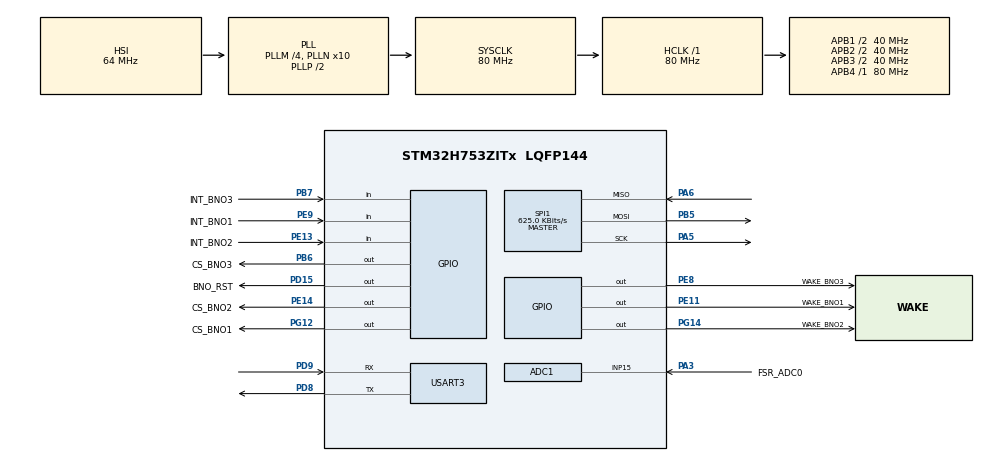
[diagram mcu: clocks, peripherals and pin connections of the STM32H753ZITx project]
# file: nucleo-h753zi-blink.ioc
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ADC1.Channel-0\#ChannelRegularConversion=ADC_CHANNEL_15
ADC1.ClockPrescaler=ADC_CLOCK_ASYNC_DIV4
ADC1.NbrOfConversionFlag=1
ADC1.OffsetNumber-0\#ChannelRegularConversion=ADC_OFFSET_NONE
ADC1.OffsetSignedSaturation-0\#ChannelRegularConversion=DISABLE
ADC1.Rank-0\#ChannelRegularConversion=1
ADC1.SamplingTime-0\#ChannelRegularConversion=ADC_SAMPLETIME_64CYCLES_5
ADC1.master=1
CORTEX_M7.CPU_DCache=Disabled
CORTEX_M7.CPU_ICache=Disabled
CORTEX_M7.MPU_Control=__NULL
CORTEX_M7.default_mode_Activation=1
Mcu.Family=STM32H7
Mcu.Name=STM32H753ZITx
Mcu.Package=LQFP144
NVIC.PriorityGroup=NVIC_PRIORITYGROUP_4
PA3.GPIO_Label=FSR_ADC0
PA3.Signal=ADCx_INP15
PA5.Mode=Full_Duplex_Master
PA5.Signal=SPI1_SCK
PA6.Mode=Full_Duplex_Master
PA6.Signal=SPI1_MISO
PB15.Signal=SPI2_MOSI
PB5.Mode=Full_Duplex_Master
PB5.Signal=SPI1_MOSI
PB6.GPIO_Label=CS_BNO3
PB6.GPIO_Speed=GPIO_SPEED_FREQ_VERY_HIGH
PB6.PinState=GPIO_PIN_SET
PB6.Signal=GPIO_Output
PB7.GPIO_Label=INT_BNO3
PB7.GPIO_PuPd=GPIO_PULLUP
PB7.Signal=GPIO_Input
PC14-OSC32_IN\ (OSC32_IN).Signal=RCC_OSC32_IN
PC15-OSC32_OUT\ (OSC32_OUT).Signal=RCC_OSC32_OUT
PD15.GPIO_Label=BNO_RST
PD15.GPIO_Speed=GPIO_SPEED_FREQ_VERY_HIGH
PD15.PinState=GPIO_PIN_SET
PD15.Signal=GPIO_Output
PD8.Mode=Asynchronous
PD8.Signal=USART3_TX
PD9.Mode=Asynchronous
PD9.Signal=USART3_RX
PE11.GPIO_Label=WAKE_BNO1
PE11.GPIO_Speed=GPIO_SPEED_FREQ_VERY_HIGH
PE11.PinState=GPIO_PIN_SET
PE11.Signal=GPIO_Output
PE13.GPIO_Label=INT_BNO2
PE13.GPIO_PuPd=GPIO_PULLUP
PE13.Signal=GPIO_Input
PE14.GPIO_Label=CS_BNO2
PE14.GPIO_Speed=GPIO_SPEED_FREQ_VERY_HIGH
PE14.PinState=GPIO_PIN_SET
PE14.Signal=GPIO_Output
PE8.GPIO_Label=WAKE_BNO3
PE8.GPIO_Speed=GPIO_SPEED_FREQ_VERY_HIGH
PE8.PinState=GPIO_PIN_SET
PE8.Signal=GPIO_Output
PE9.GPIO_Label=INT_BNO1
PE9.GPIO_PuPd=GPIO_PULLUP
PE9.Signal=GPIO_Input
PG12.GPIO_Label=CS_BNO1
PG12.GPIO_Speed=GPIO_SPEED_FREQ_VERY_HIGH
PG12.PinState=GPIO_PIN_SET
PG12.Signal=GPIO_Output
PG14.GPIO_Label=WAKE_BNO2
PG14.GPIO_Speed=GPIO_SPEED_FREQ_VERY_HIGH
PG14.PinState=GPIO_PIN_SET
PG14.Signal=GPIO_Output
PH0-OSC_IN\ (PH0).Mode=HSE-External-Clock-Source
PH0-OSC_IN\ (PH0).Signal=RCC_OSC_IN
PH1-OSC_OUT\ (PH1).Signal=RCC_OSC_OUT
ProjectManager.HeapSize=0x200
ProjectManager.StackSize=0x400
ProjectManager.TargetToolchain=STM32CubeIDE
RCC.ADCFreq_Value=75000000
RCC.APB1Freq_Value=40000000
RCC.APB2Freq_Value=40000000
RCC.APB3Freq_Value=40000000
RCC.APB4Freq_Value=80000000
RCC.CortexFreq_Value=80000000
RCC.D1PPRE=RCC_APB3_DIV2
RCC.D2PPRE1=RCC_APB1_DIV2
RCC.D2PPRE2=RCC_APB2_DIV2
RCC.DIVM1=4
RCC.DIVM2=4
RCC.DIVN1=10
RCC.DIVN2=9
RCC.HCLKFreq_Value=80000000
RCC.HSE_VALUE=8000000
RCC.PLL2FRACN=3072
RCC.PLL3FRACN=0
RCC.PLLFRACN=0
RCC.SYSCLKFreq_VALUE=80000000
RCC.SYSCLKSource=RCC_SYSCLKSOURCE_PLLCLK
RCC.USBFreq_Value=80000000
SH.ADCx_INP15.0=ADC1_INP15,IN15-Single-Ended
SPI1.BaudRatePrescaler=SPI_BAUDRATEPRESCALER_128
SPI1.CLKPhase=SPI_PHASE_2EDGE
SPI1.CLKPolarity=SPI_POLARITY_HIGH
SPI1.CalculateBaudRate=625.0 KBits/s
SPI1.DataSize=SPI_DATASIZE_8BIT
SPI1.Direction=SPI_DIRECTION_2LINES
SPI1.Mode=SPI_MODE_MASTER
SPI1.VirtualType=VM_MASTER
USART3.VirtualMode-Asynchronous=VM_ASYNC
VP_MEMORYMAP_VS_MEMORYMAP.Mode=CurAppReg
board=NUCLEO-H753ZI

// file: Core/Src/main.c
/* USER CODE BEGIN Header */
/**
  ******************************************************************************
  * @file           : main.c
  * @brief          : Main program body
  ******************************************************************************
  * @attention
  *
  * Copyright (c) 2026 STMicroelectronics.
  * All rights reserved.
  *
  * This software is licensed under terms that can be found in the LICENSE file
  * in the root directory of this software component.
  * If no LICENSE file comes with this software, it is provided AS-IS.
  *
  ******************************************************************************
  */
/* USER CODE END Header */
#include "main.h"
#include "adc.h"
#include "spi.h"
#include "usart.h"
#include "gpio.h"

/* USER CODE BEGIN Includes */
#include "bno085.h"
#include "fsr.h"
#include <stdio.h>
/* USER CODE END Includes */

/* USER CODE BEGIN PV */
BNO085_t bno1;
BNO085_t bno2;
BNO085_t bno3;
FSR_HandleTypeDef fsr1;
/* USER CODE END PV */

void SystemClock_Config(void);

/* USER CODE BEGIN 0 */
extern UART_HandleTypeDef huart3;
int _write(int file, char *ptr, int len) {
    /* printf → USART3 (TX=PD8) → USB-TTL → COM17 */
    HAL_UART_Transmit(&huart3, (uint8_t*)ptr, len, HAL_MAX_DELAY);
    return len;
}

/* Helper function to safely reset and drain multiple BNO085 sensors on shared RST pin */
void BNO085_MultiReset(BNO085_t *imus[], uint8_t count, uint32_t timeout_ms) {
    printf("[1/3] Pulsing shared hardware reset line (PD15)...\r\n");
    HAL_GPIO_WritePin(BNO_RST_GPIO_Port, BNO_RST_Pin, GPIO_PIN_RESET);
    HAL_Delay(15);
    HAL_GPIO_WritePin(BNO_RST_GPIO_Port, BNO_RST_Pin, GPIO_PIN_SET);

    for (uint8_t i = 0; i < count; i++) {
        printf("  -> Syncing & draining boot packets for IMU #%u...\r\n", i + 1);
        uint32_t start = HAL_GetTick();
        while (HAL_GPIO_ReadPin(imus[i]->hintn_port, imus[i]->hintn_pin) == GPIO_PIN_SET) {
            if ((HAL_GetTick() - start) > timeout_ms) {
                printf("  [WARN] IMU #%u did not respond (INT pin stayed HIGH). Is it wired?\r\n", i + 1);
                break;
            }
        }

        uint8_t boot_buf[300];
        uint32_t drain_start = HAL_GetTick();
        while ((HAL_GetTick() - drain_start) < 1500) {
            if (HAL_GPIO_ReadPin(imus[i]->hintn_port, imus[i]->hintn_pin) == GPIO_PIN_RESET) {
                BNO085_ReadPacket(imus[i], boot_buf, sizeof(boot_buf));
                drain_start = HAL_GetTick();
            } else if ((HAL_GetTick() - drain_start) > 100) {
                break;
            }
        }
    }
    HAL_Delay(50);
}
/* USER CODE END 0 */

int main(void)
{

  /* MCU Configuration--------------------------------------------------------*/

  /* Reset of all peripherals, Initializes the Flash interface and the Systick. */
  HAL_Init();

  /* Configure the system clock */
  SystemClock_Config();

  /* Initialize all configured peripherals */
  MX_GPIO_Init();
  MX_SPI1_Init();
  MX_ADC1_Init();
  MX_USART3_UART_Init();
  /* USER CODE BEGIN 2 */
  printf("\r\n========================================\r\n");
  printf("     BNO085 MULTI-IMU INITIALIZATION    \r\n");
  printf("========================================\r\n");

  /* 1. Link BNO085 handles to SPI1 and their respective CubeMX pins */
  BNO085_Init(&bno1, &hspi1,
              CS_BNO1_GPIO_Port, CS_BNO1_Pin,
              BNO_RST_GPIO_Port, BNO_RST_Pin,
              INT_BNO1_GPIO_Port, INT_BNO1_Pin,
              WAKE_BNO1_GPIO_Port, WAKE_BNO1_Pin);

  BNO085_Init(&bno2, &hspi1,
              CS_BNO2_GPIO_Port, CS_BNO2_Pin,
              BNO_RST_GPIO_Port, BNO_RST_Pin,
              INT_BNO2_GPIO_Port, INT_BNO2_Pin,
              WAKE_BNO2_GPIO_Port, WAKE_BNO2_Pin);

  BNO085_Init(&bno3, &hspi1,
              CS_BNO3_GPIO_Port, CS_BNO3_Pin,
              BNO_RST_GPIO_Port, BNO_RST_Pin,
              INT_BNO3_GPIO_Port, INT_BNO3_Pin,
              WAKE_BNO3_GPIO_Port, WAKE_BNO3_Pin);

  /* 2. Synchronous hardware reset: pulse shared RST (PD15) and drain each connected sensor */
  BNO085_t *active_imus[2] = { &bno1, &bno2 };
  BNO085_MultiReset(active_imus, 2, 500);

  /* 3. Enable 100 Hz Game Rotation Vector on IMU1 */
  printf("[2/3] Enabling Game Rotation Vector on IMU1...\r\n");
  if (BNO085_EnableGameRotationVector(&bno1, 10) == BNO085_OK) {
      printf("[OK] IMU1: 100 Hz Game Rotation Vector streaming!\r\n");
  } else {
      printf("[FAIL] IMU1: Failed to enable report.\r\n");
  }

  /* 4. Enable 100 Hz Game Rotation Vector on IMU2 (if connected) */
  printf("[3/3] Enabling Game Rotation Vector on IMU2...\r\n");
  if (BNO085_EnableGameRotationVector(&bno2, 10) == BNO085_OK) {
      printf("[OK] IMU2: 100 Hz Game Rotation Vector streaming!\r\n");
  } else {
      printf("[INFO] IMU2: Sensor not ready or not yet wired.\r\n");
  }
  /* USER CODE END 2 */

  /* Infinite loop */
  while (1)
  {

    /* 1. Non-blocking IMU polling for each sensor */
    BNO085_Update(&bno1);
    BNO085_Update(&bno2);

    /* 2. Telemetry output at 20 Hz (every 50 ms) without mutual blocking */
    static uint32_t last_telemetry = 0;
    if ((HAL_GetTick() - last_telemetry) >= 50) {
        last_telemetry = HAL_GetTick();

        /* Print real-time Euler angles for each sensor */
        printf("IMU1: [Y:%+6.1f P:%+6.1f R:%+6.1f] (Acc:%u, %s) | IMU2: [Y:%+6.1f P:%+6.1f R:%+6.1f] (Acc:%u, %s)\r\n",
               bno1.data.yaw, bno1.data.pitch, bno1.data.roll, bno1.data.accuracy,
               bno1.data.has_new_data ? "ACTIVE" : "IDLE",
               bno2.data.yaw, bno2.data.pitch, bno2.data.roll, bno2.data.accuracy,
               bno2.data.has_new_data ? "ACTIVE" : "IDLE");

        bno1.data.has_new_data = false;
        bno2.data.has_new_data = false;
    }

  }
}

void SystemClock_Config(void)
{
  RCC_OscInitTypeDef RCC_OscInitStruct = {0};
  RCC_ClkInitTypeDef RCC_ClkInitStruct = {0};

  /** Supply configuration update enable
  */
  HAL_PWREx_ConfigSupply(PWR_LDO_SUPPLY);

  /** Configure the main internal regulator output voltage
  */
  __HAL_PWR_VOLTAGESCALING_CONFIG(PWR_REGULATOR_VOLTAGE_SCALE3);

  while(!__HAL_PWR_GET_FLAG(PWR_FLAG_VOSRDY)) {}

  /** Initializes the RCC Oscillators according to the specified parameters
  * in the RCC_OscInitTypeDef structure.
  */
  RCC_OscInitStruct.OscillatorType = RCC_OSCILLATORTYPE_HSI;
  RCC_OscInitStruct.HSIState = RCC_HSI_DIV1;
  RCC_OscInitStruct.HSICalibrationValue = RCC_HSICALIBRATION_DEFAULT;
  RCC_OscInitStruct.PLL.PLLState = RCC_PLL_ON;
  RCC_OscInitStruct.PLL.PLLSource = RCC_PLLSOURCE_HSI;
  RCC_OscInitStruct.PLL.PLLM = 4;
  RCC_OscInitStruct.PLL.PLLN = 10;
  RCC_OscInitStruct.PLL.PLLP = 2;
  RCC_OscInitStruct.PLL.PLLQ = 2;
  RCC_OscInitStruct.PLL.PLLR = 2;
  RCC_OscInitStruct.PLL.PLLRGE = RCC_PLL1VCIRANGE_3;
  RCC_OscInitStruct.PLL.PLLVCOSEL = RCC_PLL1VCOMEDIUM;
  RCC_OscInitStruct.PLL.PLLFRACN = 0;
  if (HAL_RCC_OscConfig(&RCC_OscInitStruct) != HAL_OK)
  {
    Error_Handler();
  }

  /** Initializes the CPU, AHB and APB buses clocks
  */
  RCC_ClkInitStruct.ClockType = RCC_CLOCKTYPE_HCLK|RCC_CLOCKTYPE_SYSCLK
                              |RCC_CLOCKTYPE_PCLK1|RCC_CLOCKTYPE_PCLK2
                              |RCC_CLOCKTYPE_D3PCLK1|RCC_CLOCKTYPE_D1PCLK1;
  RCC_ClkInitStruct.SYSCLKSource = RCC_SYSCLKSOURCE_PLLCLK;
  RCC_ClkInitStruct.SYSCLKDivider = RCC_SYSCLK_DIV1;
  RCC_ClkInitStruct.AHBCLKDivider = RCC_HCLK_DIV1;
  RCC_ClkInitStruct.APB3CLKDivider = RCC_APB3_DIV2;
  RCC_ClkInitStruct.APB1CLKDivider = RCC_APB1_DIV2;
  RCC_ClkInitStruct.APB2CLKDivider = RCC_APB2_DIV2;
  RCC_ClkInitStruct.APB4CLKDivider = RCC_APB4_DIV1;

  if (HAL_RCC_ClockConfig(&RCC_ClkInitStruct, FLASH_LATENCY_1) != HAL_OK)
  {
    Error_Handler();
  }
}

void Error_Handler(void)
{
  /* USER CODE BEGIN Error_Handler_Debug */
  /* User can add his own implementation to report the HAL error return state */
  __disable_irq();
  while (1)
  {
    printf("Hello STM32 - serial via BSP\\r\\n");
    HAL_Delay(1000);
  }
  /* USER CODE END Error_Handler_Debug */
}
